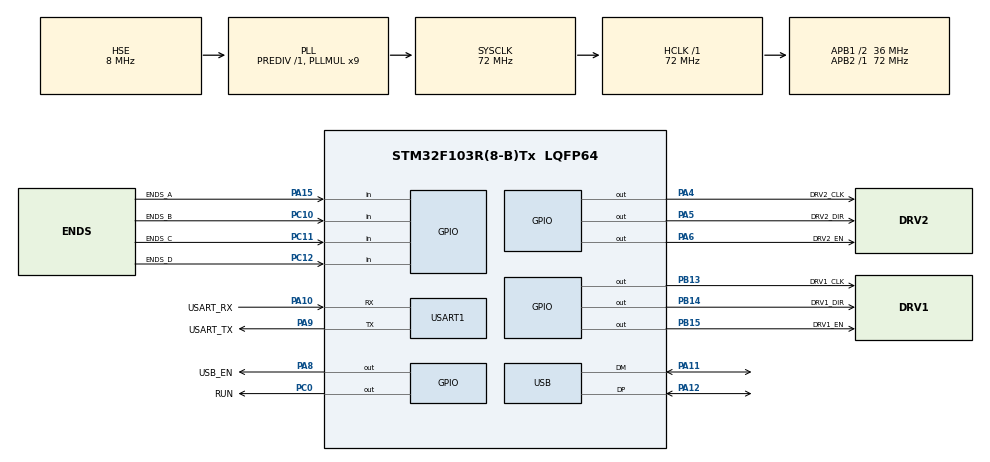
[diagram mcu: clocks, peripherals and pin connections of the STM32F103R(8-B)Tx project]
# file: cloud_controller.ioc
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FREERTOS.Tasks01=defaultTask,0,128,StartDefaultTask,Default,NULL
Mcu.Family=STM32F1
Mcu.Name=STM32F103R(8-B)Tx
Mcu.Package=LQFP64
NVIC.PriorityGroup=NVIC_PRIORITYGROUP_4
NVIC.TIM1_UP_IRQn=true\:0\:0\:false\:false\:true\:false\:false
NVIC.TIM3_IRQn=true\:5\:0\:false\:false\:true\:true\:true
NVIC.TimeBase=TIM1_UP_IRQn
NVIC.TimeBaseIP=TIM1
NVIC.USB_LP_CAN1_RX0_IRQn=true\:5\:0\:false\:false\:true\:true\:false
PA10.GPIO_Label=USART_RX
PA10.Mode=Asynchronous
PA10.Signal=USART1_RX
PA11.Mode=Device
PA11.Signal=USB_DM
PA12.Mode=Device
PA12.Signal=USB_DP
PA13.Mode=Serial_Wire
PA13.Signal=SYS_JTMS-SWDIO
PA14.Mode=Serial_Wire
PA14.Signal=SYS_JTCK-SWCLK
PA15.GPIO_Label=ENDS_A
PA15.GPIO_PuPd=GPIO_PULLDOWN
PA15.Signal=GPIO_Input
PA4.GPIO_Label=DRV2_CLK
PA4.Signal=GPIO_Output
PA5.GPIO_Label=DRV2_DIR
PA5.Signal=GPIO_Output
PA6.GPIO_Label=DRV2_EN
PA6.Signal=GPIO_Output
PA8.GPIO_Label=USB_EN
PA8.Signal=GPIO_Output
PA9.GPIO_Label=USART_TX
PA9.Mode=Asynchronous
PA9.Signal=USART1_TX
PB13.GPIO_Label=DRV1_CLK
PB13.Signal=GPIO_Output
PB14.GPIO_Label=DRV1_DIR
PB14.Signal=GPIO_Output
PB15.GPIO_Label=DRV1_EN
PB15.Signal=GPIO_Output
PC0.GPIO_Label=RUN
PC0.Signal=GPIO_Output
PC10.GPIO_Label=ENDS_B
PC10.GPIO_PuPd=GPIO_PULLDOWN
PC10.Signal=GPIO_Input
PC11.GPIO_Label=ENDS_C
PC11.GPIO_PuPd=GPIO_PULLDOWN
PC11.Signal=GPIO_Input
PC12.GPIO_Label=ENDS_D
PC12.GPIO_PuPd=GPIO_PULLDOWN
PC12.Signal=GPIO_Input
PD0-OSC_IN.Mode=HSE-External-Oscillator
PD0-OSC_IN.Signal=RCC_OSC_IN
PD1-OSC_OUT.Mode=HSE-External-Oscillator
PD1-OSC_OUT.Signal=RCC_OSC_OUT
ProjectManager.HeapSize=0x200
ProjectManager.StackSize=0x400
ProjectManager.TargetToolchain=MDK-ARM V5
RCC.AHBFreq_Value=72000000
RCC.APB1CLKDivider=RCC_HCLK_DIV2
RCC.APB1Freq_Value=36000000
RCC.APB1TimFreq_Value=72000000
RCC.APB2Freq_Value=72000000
RCC.APB2TimFreq_Value=72000000
RCC.HCLKFreq_Value=72000000
RCC.PLLMUL=RCC_PLL_MUL9
RCC.SYSCLKFreq_VALUE=72000000
RCC.SYSCLKSource=RCC_SYSCLKSOURCE_PLLCLK
RCC.USBFreq_Value=48000000
RCC.USBPrescaler=RCC_USBCLKSOURCE_PLL_DIV1_5
TIM3.Period=9
TIM3.Prescaler=21
USART1.VirtualMode=VM_ASYNC
USB_DEVICE.CLASS_NAME_FS=CDC
USB_DEVICE.VirtualMode=Cdc
USB_DEVICE.VirtualModeFS=Cdc_FS
VP_FREERTOS_VS_ENABLE.Mode=Enabled
VP_SYS_VS_tim1.Mode=TIM1
VP_TIM3_VS_ClockSourceINT.Mode=Internal
VP_USB_DEVICE_VS_USB_DEVICE_CDC_FS.Mode=CDC_FS
board=custom

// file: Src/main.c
/**
  ******************************************************************************
  * @file           : main.c
  * @brief          : Main program body
  ******************************************************************************
  * This notice applies to any and all portions of this file
  * that are not between comment pairs USER CODE BEGIN and
  * USER CODE END. Other portions of this file, whether
  * inserted by the user or by software development tools
  * are owned by their respective copyright owners.
  *
  * Copyright (c) 2018 STMicroelectronics International N.V.
  * All rights reserved.
  *
  * Redistribution and use in source and binary forms, with or without
  * modification, are permitted, provided that the following conditions are met:
  *
  * 1. Redistribution of source code must retain the above copyright notice,
  *    this list of conditions and the following disclaimer.
  * 2. Redistributions in binary form must reproduce the above copyright notice,
  *    this list of conditions and the following disclaimer in the documentation
  *    and/or other materials provided with the distribution.
  * 3. Neither the name of STMicroelectronics nor the names of other
  *    contributors to this software may be used to endorse or promote products
  *    derived from this software without specific written permission.
  * 4. This software, including modifications and/or derivative works of this
  *    software, must execute solely and exclusively on microcontroller or
  *    microprocessor devices manufactured by or for STMicroelectronics.
  * 5. Redistribution and use of this software other than as permitted under
  *    this license is void and will automatically terminate your rights under
  *    this license.
  *
  * THIS SOFTWARE IS PROVIDED BY STMICROELECTRONICS AND CONTRIBUTORS "AS IS"
  * AND ANY EXPRESS, IMPLIED OR STATUTORY WARRANTIES, INCLUDING, BUT NOT
  * LIMITED TO, THE IMPLIED WARRANTIES OF MERCHANTABILITY, FITNESS FOR A
  * PARTICULAR PURPOSE AND NON-INFRINGEMENT OF THIRD PARTY INTELLECTUAL PROPERTY
  * RIGHTS ARE DISCLAIMED TO THE FULLEST EXTENT PERMITTED BY LAW. IN NO EVENT
  * SHALL STMICROELECTRONICS OR CONTRIBUTORS BE LIABLE FOR ANY DIRECT, INDIRECT,
  * INCIDENTAL, SPECIAL, EXEMPLARY, OR CONSEQUENTIAL DAMAGES (INCLUDING, BUT NOT
  * LIMITED TO, PROCUREMENT OF SUBSTITUTE GOODS OR SERVICES; LOSS OF USE, DATA,
  * OR PROFITS; OR BUSINESS INTERRUPTION) HOWEVER CAUSED AND ON ANY THEORY OF
  * LIABILITY, WHETHER IN CONTRACT, STRICT LIABILITY, OR TORT (INCLUDING
  * NEGLIGENCE OR OTHERWISE) ARISING IN ANY WAY OUT OF THE USE OF THIS SOFTWARE,
  * EVEN IF ADVISED OF THE POSSIBILITY OF SUCH DAMAGE.
  *
  ******************************************************************************
  */
#include "main.h"
#include "stm32f1xx_hal.h"
#include "cmsis_os.h"
#include "tim.h"
#include "usart.h"
#include "usb_device.h"
#include "gpio.h"

/* USER CODE BEGIN Includes */

#ifdef __GNUC__
/* With GCC/RAISONANCE, small printf (option LD Linker->Libraries->Small printf
set to 'Yes') calls __io_putchar() */
#define PUTCHAR_PROTOTYPE int __io_putchar(int ch)
#else
#define PUTCHAR_PROTOTYPE int fputc(int ch, FILE *f)
#endif /* __GNUC__ */
#include "iocntl.h"
#include "stepmotor.h"
#include "usbd_cdc_if.h"
/* USER CODE END Includes */

/* USER CODE BEGIN PV */
/* Private variables ---------------------------------------------------------*/
uint8_t sbuf[64];
uint8_t g_snum = 0;
/* USER CODE END PV */

void SystemClock_Config(void);
void MX_FREERTOS_Init(void);

/* USER CODE BEGIN PFP */
/* Private function prototypes -----------------------------------------------*/
void ProcCommand(char*usb_buf, char usb_len);
/* USER CODE END PFP */

/* USER CODE BEGIN 0 */
uint8_t usb_buf[64];
uint32_t usb_len = 0;
float Left_angle = 0.f;
float Up_angle = 0.f;
/* USER CODE END 0 */

int main(void)
{

  /* MCU Configuration----------------------------------------------------------*/

  /* Reset of all peripherals, Initializes the Flash interface and the Systick. */
  HAL_Init();

  /* Configure the system clock */
  SystemClock_Config();

  /* Initialize all configured peripherals */
  MX_GPIO_Init();
  MX_USART1_UART_Init();
  MX_TIM3_Init();
  /* USER CODE BEGIN 2 */
	MX_USB_DEVICE_Init();
	InitIO();
	HAL_TIM_Base_Start_IT(&htim3);
	HAL_Delay(100);
	calibration();
  /* USER CODE END 2 */

  /* Call init function for freertos objects (in freertos.c) */
 // MX_FREERTOS_Init();

  /* Start scheduler */
  //osKernelStart();

  /* We should never get here as control is now taken by the scheduler */

  /* Infinite loop */
  /* USER CODE BEGIN WHILE */
  while (1)
  {
		if(usb_len > 0)
		{
			ProcCommand((char*)usb_buf, usb_len);
			memset(usb_buf,0,sizeof(usb_buf));
			usb_len = 0;
		}
		sbuf[0] = 0x55;
		sbuf[1] = g_snum;	// sync number
		sbuf[2] = GetMoveState();
		sbuf[3] = 0;
		if(IsEndStop(MOVE_ID_0))
		{
			sbuf[3] = 0x01;
		}
		if(IsEndStop(MOVE_ID_1))
		{
			sbuf[3] |= 0x02;
		}
		Left_angle = (float)GetMovePos_0()/Left_STEP_PER_MM;
		Up_angle = (float)GetMovePos_1()/Up_STEP_PER_MM;
		*(float*)&sbuf[4] = Left_angle;
		*(float*)&sbuf[8] = Up_angle;
		CDC_Transmit_FS(sbuf, 12);
		HAL_GPIO_WritePin(RUN_GPIO_Port, RUN_Pin, (GPIO_PinState)!HAL_GPIO_ReadPin(RUN_GPIO_Port,RUN_Pin));
    HAL_Delay(50);
		printf("LED is running\n");
  /* USER CODE END WHILE */
  }

}

void SystemClock_Config(void)
{

  RCC_OscInitTypeDef RCC_OscInitStruct;
  RCC_ClkInitTypeDef RCC_ClkInitStruct;
  RCC_PeriphCLKInitTypeDef PeriphClkInit;

    /**Initializes the CPU, AHB and APB busses clocks
    */
  RCC_OscInitStruct.OscillatorType = RCC_OSCILLATORTYPE_HSE;
  RCC_OscInitStruct.HSEState = RCC_HSE_ON;
  RCC_OscInitStruct.HSEPredivValue = RCC_HSE_PREDIV_DIV1;
  RCC_OscInitStruct.HSIState = RCC_HSI_ON;
  RCC_OscInitStruct.PLL.PLLState = RCC_PLL_ON;
  RCC_OscInitStruct.PLL.PLLSource = RCC_PLLSOURCE_HSE;
  RCC_OscInitStruct.PLL.PLLMUL = RCC_PLL_MUL9;
  if (HAL_RCC_OscConfig(&RCC_OscInitStruct) != HAL_OK)
  {
    _Error_Handler(__FILE__, __LINE__);
  }

    /**Initializes the CPU, AHB and APB busses clocks
    */
  RCC_ClkInitStruct.ClockType = RCC_CLOCKTYPE_HCLK|RCC_CLOCKTYPE_SYSCLK
                              |RCC_CLOCKTYPE_PCLK1|RCC_CLOCKTYPE_PCLK2;
  RCC_ClkInitStruct.SYSCLKSource = RCC_SYSCLKSOURCE_PLLCLK;
  RCC_ClkInitStruct.AHBCLKDivider = RCC_SYSCLK_DIV1;
  RCC_ClkInitStruct.APB1CLKDivider = RCC_HCLK_DIV2;
  RCC_ClkInitStruct.APB2CLKDivider = RCC_HCLK_DIV1;

  if (HAL_RCC_ClockConfig(&RCC_ClkInitStruct, FLASH_LATENCY_2) != HAL_OK)
  {
    _Error_Handler(__FILE__, __LINE__);
  }

  PeriphClkInit.PeriphClockSelection = RCC_PERIPHCLK_USB;
  PeriphClkInit.UsbClockSelection = RCC_USBCLKSOURCE_PLL_DIV1_5;
  if (HAL_RCCEx_PeriphCLKConfig(&PeriphClkInit) != HAL_OK)
  {
    _Error_Handler(__FILE__, __LINE__);
  }

    /**Configure the Systick interrupt time
    */
  HAL_SYSTICK_Config(HAL_RCC_GetHCLKFreq()/1000);

    /**Configure the Systick
    */
  HAL_SYSTICK_CLKSourceConfig(SYSTICK_CLKSOURCE_HCLK);

  /* SysTick_IRQn interrupt configuration */
  HAL_NVIC_SetPriority(SysTick_IRQn, 15, 0);
}

/* USER CODE BEGIN 4 */
/**
* @brief  Retargets the C library printf function to the USART.
* @param  None
* @retval None
*/
PUTCHAR_PROTOTYPE
{
	/* Place your implementation of fputc here */
	/* e.g. write a character to the USART1 and Loop until the end of transmission */
	huart1.Instance->DR = (uint8_t)ch;
	while((huart1.Instance->SR & UART_FLAG_TXE) == 0)
	{
	}
	return ch;
}

void ProcCommand(char*usb_buf, char usb_len)
	{
		float Left_val;
		float Up_val;
		int speed;
		switch(usb_buf[1])
		{
			case 'p'://设置水平角，上下角
				if(sscanf(&usb_buf[2], "%f,%f", &Left_val, &Up_val) == 2)
				{
					SetPosition(Left_val,Up_val);
				}
				break;
			case 't':	// 水平角，上下角，速度
				if(sscanf(&usb_buf[2], "%f,%f,%d", &Left_val, &Up_val,&speed) == 3)
				{
					Move(Left_val,Up_val,speed);
				}
				break;
			case 's':	// stop
				StopMove();
				break;
			case 'c':	// 校准
				calibration();
				break;
			default:
				break;
		}
			// 命令收到，更新状态后，再同步序号
		g_snum = usb_buf[0] == '0' ? 0 : 1;
	}
/* USER CODE END 4 */

void HAL_TIM_PeriodElapsedCallback(TIM_HandleTypeDef *htim)
{
  if (htim->Instance == TIM1) {
    HAL_IncTick();
  }
}

void _Error_Handler(char *file, int line)
{
  while(1)
  {
  }
}

/************************ (C) COPYRIGHT STMicroelectronics *****END OF FILE****/
